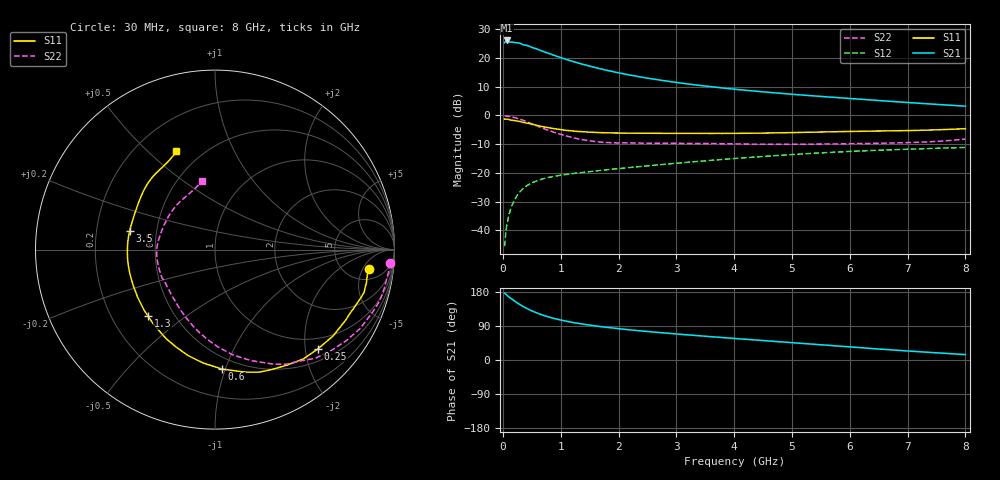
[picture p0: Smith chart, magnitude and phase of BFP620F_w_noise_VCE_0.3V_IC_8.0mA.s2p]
! Infineon Technologies  Discrete & RF Semiconductors
! BFP620F
! VCE =  0.3 V,  IC =  8.0 mA
! Common Emitter S-Parameters:  Dec 2014
# GHz  S  MA  R  50
!  f  S11  S21  S12  S22
! GHz  MAG  ANG  MAG  ANG  MAG  ANG  MAG  ANG
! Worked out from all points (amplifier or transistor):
!   95 points, 30 MHz to 8 GHz, reference 50 ohm
!   highest |S21| = 26.1 dB at 70 MHz (marker M1)
!   |S21| within 3 dB of that: start of sweep to 590.7 MHz
!   unconditionally stable (mu >= 1): 3.955 GHz to end of sweep
!   at 300 MHz: K = 0.12, MSG = 25.8 dB, |S12| = -26.5 dB
!   at 3.3 GHz: K = 0.95, MSG = 13.4 dB, |S12| = -16.1 dB
!   at 8 GHz: K = 1.12, MAG = 5.1 dB, |S12| = -11.2 dB
!   lowest NFmin = 0.56 dB at 450 MHz
!   S11 on the Smith chart (normalised r, x): 30 MHz: 8, -7; 250 MHz: 0.75, -2.28; 600 MHz: 0.41, -0.97; 1.3 GHz: 0.36, -0.37; 3.5 GHz: 0.35, +0.10; 8 GHz: 0.37, +0.62
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0.03  0.8659 -7.1  18.51 176.1  0.0053 88.9  0.976 -4.4
0.05  0.861 -10.9  19.58 173.4  0.009 81.5  0.9753 -7.4
0.07  0.8627 -14.0  20.18 171.0  0.0125 81.4  0.9697 -10.1
0.12  0.8385 -23.1  18.93 164.6  0.0206 79.2  0.96 -17.4
0.15  0.8281 -28.1  19.02 161.5  0.0262 77.9  0.9444 -21.7
0.25  0.797 -43.8  18.38 150.7  0.0409 68.7  0.8889 -35.0
0.3  0.783 -51.1  18.04 145.7  0.0474 65.3  0.8561 -41.3
0.35  0.7581 -58.2  17 141.2  0.0531 62.4  0.8241 -47.3
0.45  0.7259 -70.2  16.14 133.1  0.0629 56.7  0.7534 -57.9
0.6  0.6668 -86.6  14.19 123.4  0.0737 50.3  0.6482 -72.3
0.7  0.635 -96.0  12.95 117.9  0.0792 47.4  0.5942 -80.5
0.9  0.585 -111.6  11 109.1  0.0875 43.3  0.5028 -94.7
1.1  0.5492 -124.5  9.417 102.2  0.0941 41.0  0.4377 -107.2
1.3  0.526 -135.2  8.186 96.7  0.0998 39.6  0.3915 -118.3
1.4  0.5194 -139.7  7.683 94.3  0.1024 39.3  0.3751 -123.5
2  0.4937 -161.6  5.524 82.7  0.119 38.0  0.3318 -149.0
2.7  0.4885 -178.2  4.149 72.6  0.1383 36.8  0.3273 -167.0
3.5  0.4867 167.5  3.246 62.7  0.162 34.8  0.3241 179.0
4.1  0.4883 158.3  2.802 55.8  0.1807 32.6  0.3183 169.8
5.4  0.5122 142.0  2.18 41.3  0.2201 25.8  0.3168 147.9
6.7  0.5389 126.5  1.76 27.0  0.2518 17.2  0.3308 125.6
8  0.5885 111.4  1.45 14.2  0.277 8.7  0.3872 100.8
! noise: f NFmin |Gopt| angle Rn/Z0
0.45  0.56  0.34  9  0.24
0.9  0.63  0.3  19  0.21
1.5  0.69  0.28  22  0.17
1.8  0.72  0.26  25  0.16
1.9  0.73  0.21  39  0.18
2.4  0.78  0.19  54  0.16
3.5  0.89  0.18  74  0.13
5.5  1.07  0.13  168  0.11
6  1.11  0.1  192  0.19
